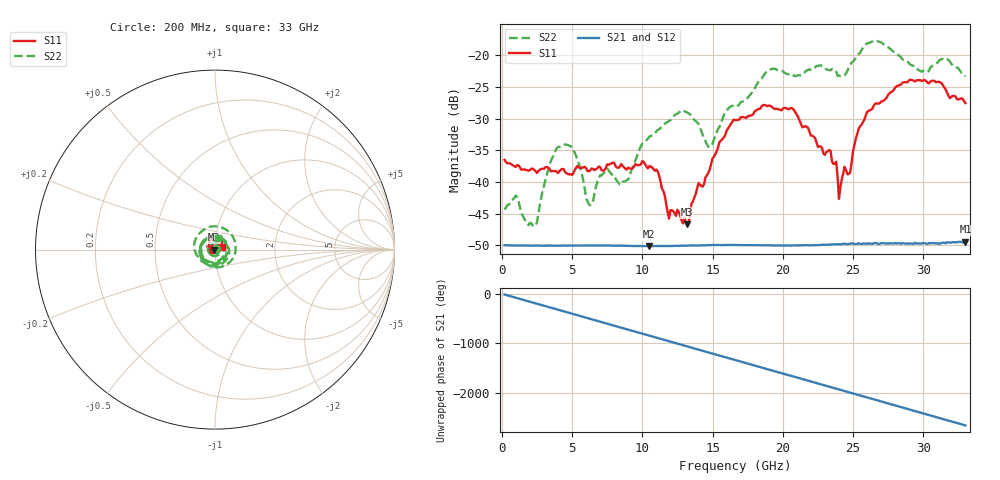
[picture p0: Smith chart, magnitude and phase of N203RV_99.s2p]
# GHZ S RI R 50
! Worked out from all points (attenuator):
!   329 points, 200 MHz to 33 GHz, reference 50 ohm
!   highest |S21| = -49.41 dB at 33 GHz (marker M1); lowest = -50.1 dB at 10.5 GHz (marker M2)
!   lowest |S11| = -46.7 dB at 13.2 GHz (marker M3), VSWR 1.01, Z = 49.5 + j0.0408 ohm
!   |S11| at or under -10 dB: start of sweep to end of sweep
!   |S22| runs from -47.0 to -17.7 dB; largest |S21 - S12| = 7.2e-05
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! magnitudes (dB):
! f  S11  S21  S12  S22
! 200 MHz  -36.5  -50.0  -50.0  -44.4
! 1 GHz  -37.6  -50.0  -50.0  -42.1
! 2.3 GHz  -38.1  -50.0  -50.0  -47.0
! 4 GHz  -38.6  -50.0  -50.0  -34.5
! 5.7 GHz  -37.7  -50.0  -50.0  -38.8
! 6.3 GHz  -38.1  -50.0  -50.0  -43.7
! 7 GHz  -37.6  -50.0  -50.0  -38.9
! 9 GHz  -37.7  -50.1  -50.0  -39.6
! 10.5 GHz  -37.5  -50.1  -50.1  -32.8
! 11.2 GHz  -39.0  -50.1  -50.1  -31.7
! 11.9 GHz  -45.8  -50.1  -50.1  -30.4
! 13.2 GHz  -46.7  -50.0  -50.0  -29.0
! 14.8 GHz  -38.0  -50.0  -50.0  -34.5
! 16.6 GHz  -30.2  -49.9  -49.9  -28.2
! 20.6 GHz  -28.3  -50.0  -50.0  -23.0
! 22.1 GHz  -32.7  -50.0  -49.9  -22.3
! 23.8 GHz  -36.8  -49.8  -49.8  -22.6
! 24 GHz  -42.7  -49.8  -49.8  -23.2
! 25.4 GHz  -31.6  -49.6  -49.7  -19.8
! 27.6 GHz  -26.0  -49.6  -49.7  -18.9
! 30.7 GHz  -24.0  -49.6  -49.5  -21.6
! 33 GHz  -27.6  -49.4  -49.4  -23.4
